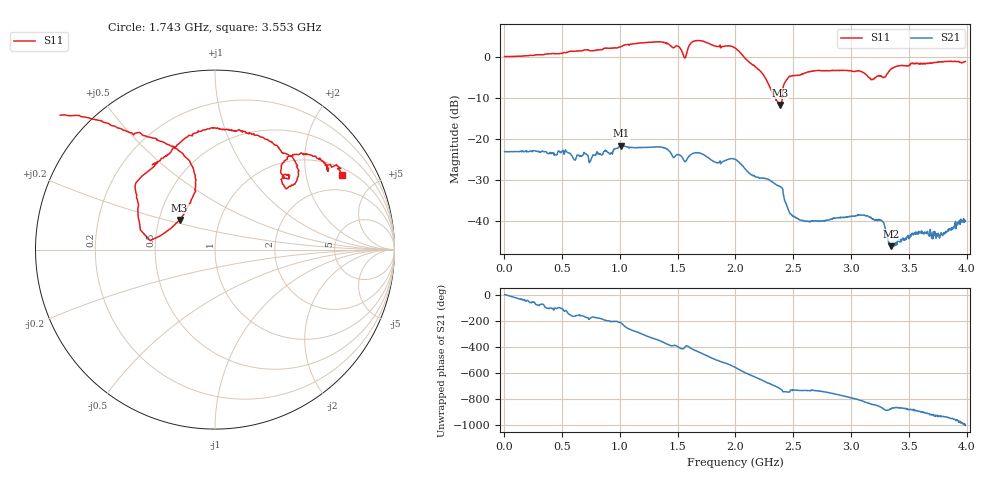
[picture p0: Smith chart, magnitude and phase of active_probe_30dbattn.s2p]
# HZ S RI R 50
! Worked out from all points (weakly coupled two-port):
!   1023 points, 3.9 MHz to 3.99 GHz, reference 50 ohm
!   highest |S21| = -21.71 dB at 1.014 GHz (marker M1); lowest = -46.2 dB at 3.346 GHz (marker M2)
!   lowest |S11| = -11.8 dB at 2.387 GHz (marker M3), VSWR 1.69, Z = 32 + j11.3 ohm
!   |S11| at or under -10 dB: 2.341 GHz to 2.407 GHz (65.48 MHz wide, 2.76 % of centre)
!   S12 and S22 are empty: the file has one direction only
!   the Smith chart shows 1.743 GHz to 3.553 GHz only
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3900000  0.9998 -0.00297  0.0696 0.00102  0 0  0 0
6.708e8  1.021 -0.5809  -0.0584 -0.0198  0 0  0 0
1.014e9  0.918 -0.9624  -0.0641 0.0512  0 0  0 0
1.3338e9  -0.1014 -1.505  0.0778 0.0161  0 0  0 0
1.4274e9  -0.5571 -1.285  0.0637 -0.0318  0 0  0 0
1.5483e9  -0.716 -0.7723  0.0327 -0.0463  0 0  0 0
1.5834e9  -0.3603 -1.109  0.0477 -0.0309  0 0  0 0
1.638e9  -0.9307 -1.208  0.0313 -0.0585  0 0  0 0
1.7511e9  -1.357 -0.5867  -0.0182 -0.0576  0 0  0 0
1.9266e9  -1.299 0.3458  -0.0541 -0.0112  0 0  0 0
1.9968e9  -1.073 0.6796  -0.0538 0.0161  0 0  0 0
2.0943e9  -0.5956 0.7042  -0.019 0.0369  0 0  0 0
2.262e9  -0.1636 0.5143  0.0209 0.0252  0 0  0 0
2.3868e9  -0.1971 0.1654  0.0262 -0.000388  0 0  0 0
2.4492e9  -0.4363 0.3036  0.0133 -0.00648  0 0  0 0
2.6637e9  -0.094 0.6622  0.00969 -0.00194  0 0  0 0
3.1356e9  0.4553 0.3832  -0.00317 -0.0112  0 0  0 0
3.2682e9  0.4086 0.3948  -0.00854 -0.00523  0 0  0 0
3.3267e9  0.4022 0.5151  -0.00513 -0.00154  0 0  0 0
3.3462e9  0.4596 0.5297  -0.00443 -0.00214  0 0  0 0
3.5646e9  0.734 0.4017  -0.00676 -0.00135  0 0  0 0
3.9897e9  0.8473 0.2041  0.00218 0.00966  0 0  0 0
